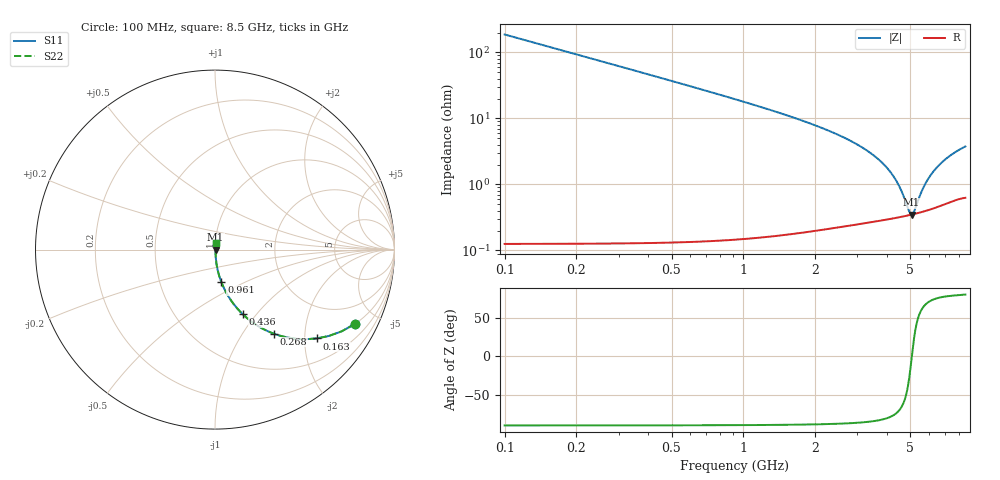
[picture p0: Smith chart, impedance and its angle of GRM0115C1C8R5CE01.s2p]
!Murata Part Number: GRM0115C1C8R5CE01
!These Parameters are Measured in Series Mode Connection
!Data Generated on Mar 30, 2021
!  o--ll--o
!Port1  Port2
!  o------o
!Operation Temp=25[degC], DC Bias Voltage=0[V]
!Freq. Start=100[MHz] Stop=9[GHz] 401[Steps]
# Hz S RI R 50
!Freq.(Hz) S11(Real) S11(Imag) S21(Real) S21(Imag) S12(Real) S12(Imag) S22(Real) S22(Imag)
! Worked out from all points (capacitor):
!   401 points, 100 MHz to 8.5 GHz, reference 50 ohm
!   read as one part in series: C = 8.5 pF near 142 MHz
!   lowest |Z| = 350 mohm at 5.056 GHz (marker M1)
!   series resonance near 5.072 GHz, so ESL is about 120 pH
!   S11 on the Smith chart (normalised r, x): 100 MHz: 1.00, -3.74; 163 MHz: 1.00, -2.29; 268 MHz: 1.00, -1.39; 436 MHz: 1.00, -0.85; 961 MHz: 1.00, -0.37; 8.5 GHz: 1.01, +0.07
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1e8  0.7778 -0.4154  0.2222 0.4154  0.2222 0.4154  0.7778 -0.4154
1.63e8  0.5683 -0.4948  0.4317 0.4948  0.4317 0.4948  0.5683 -0.4948
2.05e8  0.454 -0.4972  0.546 0.4972  0.546 0.4972  0.454 -0.4972
2.68e8  0.327 -0.4682  0.673 0.4682  0.673 0.4682  0.327 -0.4682
3.52e8  0.2193 -0.4126  0.7807 0.4126  0.7807 0.4126  0.2193 -0.4126
4.36e8  0.1544 -0.3598  0.8456 0.3598  0.8456 0.3598  0.1544 -0.3598
6.46e8  0.0761 -0.2628  0.9239 0.2628  0.9239 0.2628  0.0761 -0.2628
9.61e8  0.0353 -0.1806  0.9647 0.1806  0.9647 0.1806  0.0353 -0.1806
1.507e9  0.0142 -0.111  0.9858 0.111  0.9858 0.111  0.0142 -0.111
2.914e9  0.00423 -0.0423  0.9958 0.0423  0.9958 0.0423  0.00423 -0.0423
3.733e9  0.00333 -0.0226  0.9967 0.0226  0.9967 0.0226  0.00333 -0.0226
4.3e9  0.00323 -0.012  0.9968 0.012  0.9968 0.012  0.00323 -0.012
4.594e9  0.00328 -0.00716  0.9967 0.00716  0.9967 0.00716  0.00328 -0.00716
4.93e9  0.00341 -0.00205  0.9966 0.00205  0.9966 0.00205  0.00341 -0.00205
5.056e9  0.00348 -0.000223  0.9965 0.000223  0.9965 0.000223  0.00348 -0.000223
5.182e9  0.00356 0.00155  0.9964 -0.00155  0.9964 -0.00155  0.00356 0.00155
5.476e9  0.00377 0.00553  0.9962 -0.00553  0.9962 -0.00553  0.00377 0.00553
5.707e9  0.00397 0.00851  0.996 -0.00851  0.996 -0.00851  0.00397 0.00851
5.98e9  0.00424 0.0119  0.9958 -0.0119  0.9958 -0.0119  0.00424 0.0119
6.295e9  0.0046 0.0156  0.9954 -0.0156  0.9954 -0.0156  0.0046 0.0156
7.114e9  0.00573 0.0243  0.9943 -0.0243  0.9943 -0.0243  0.00573 0.0243
8.5e9  0.0076 0.0367  0.9924 -0.0367  0.9924 -0.0367  0.0076 0.0367
